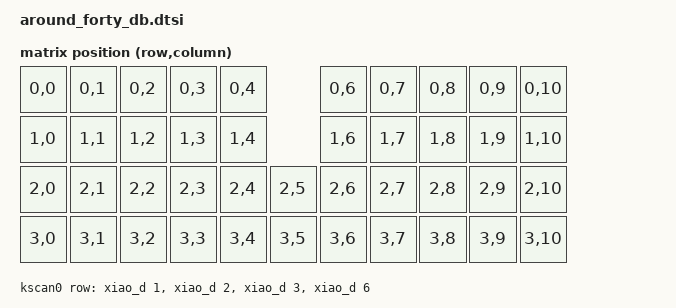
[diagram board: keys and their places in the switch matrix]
#include <dt-bindings/zmk/matrix_transform.h>
#include <dt-bindings/zmk/input_transform.h>
#include <dt-bindings/input/input-event-codes.h>
#include <dt-bindings/zmk/bt.h>
#include <input/processors.dtsi>
#include <physical_layouts.dtsi>

/ {
    chosen {
       zmk,physical-layout = &aroundFortydb_physical_layout;
    };

aroundFortydb_physical_layout: aroundFortydb_physical_layout {
        compatible = "zmk,physical-layout";
        display-name = "Default";
        transform = <&default_transform>;
        kscan = <&kscan0>;

         keys
            = <&key_physical_attrs 100 100    0  100  0 0 0>  /* r1 c0 (0,1)  */
            , <&key_physical_attrs 100 100  100  100  0 0 0>  /* r1 c1 (1,1)  */
            , <&key_physical_attrs 100 100  200  100  0 0 0>  /* r1 c2 (2,1)  */
            , <&key_physical_attrs 100 100  300  100  0 0 0>  /* r1 c3 (3,1)  */
            , <&key_physical_attrs 100 100  400  100  0 0 0>  /* r1 c4 (4,1)  */
            , <&key_physical_attrs 100 100  800  100  0 0 0>  /* r1 c5 (8,1)  */
            , <&key_physical_attrs 100 100  900  100  0 0 0>  /* r1 c6 (9,1)  */
            , <&key_physical_attrs 100 100 1000  100  0 0 0>  /* r1 c7 (10,1) */
            , <&key_physical_attrs 100 100 1100  100  0 0 0>  /* r1 c8 (11,1) */
            , <&key_physical_attrs 100 100 1200  100  0 0 0>  /* r1 c9 (12,1) */

            , <&key_physical_attrs 100 100    0  200  0 0 0>  /* r2 c0 (0,2)  */
            , <&key_physical_attrs 100 100  100  200  0 0 0>  /* r2 c1 (1,2)  */
            , <&key_physical_attrs 100 100  200  200  0 0 0>  /* r2 c2 (2,2)  */
            , <&key_physical_attrs 100 100  300  200  0 0 0>  /* r2 c3 (3,2)  */
            , <&key_physical_attrs 100 100  400  200  0 0 0>  /* r2 c4 (4,2)  */
            , <&key_physical_attrs 100 100 1100  200  0 0 0>  /* r2 c5 (8,2)  */
            , <&key_physical_attrs 100 100  900  200  0 0 0>  /* r2 c6 (9,2)  */
            , <&key_physical_attrs 100 100 1000  200  0 0 0>  /* r2 c7 (10,2) */
            , <&key_physical_attrs 100 100  800  200  0 0 0>  /* r2 c8 (11,2) */
            , <&key_physical_attrs 100 100 1200  200  0 0 0>  /* r2 c9 (12,2) */

            , <&key_physical_attrs 100 100    0  300  0 0 0>  /* r3 c0 (0,3)  */
            , <&key_physical_attrs 100 100  100  300  0 0 0>  /* r3 c1 (1,3)  */
            , <&key_physical_attrs 100 100  200  300  0 0 0>  /* r3 c2 (2,3)  */
            , <&key_physical_attrs 100 100  300  300  0 0 0>  /* r3 c3 (3,3)  */
            , <&key_physical_attrs 100 100  400  300  0 0 0>  /* r3 c4 (4,3)  */
            , <&key_physical_attrs 100 100  800  300  0 0 0>  /* r3 c5 (8,3)  */
            , <&key_physical_attrs 100 100  900  300  0 0 0>  /* r3 c6 (9,3)  */
            , <&key_physical_attrs 100 100 1000  300  0 0 0>  /* r3 c7 (10,3) */
            , <&key_physical_attrs 100 100 1100  300  0 0 0>  /* r3 c8 (11,3) */
            , <&key_physical_attrs 100 100 1200  300  0 0 0>  /* r3 c9 (12,3) */

            , <&key_physical_attrs 100 100    0  400  0 0 0>  /* r4 c0 (0,4)  */
            , <&key_physical_attrs 100 100  100  400  0 0 0>  /* r4 c1 (1,4)  */
            , <&key_physical_attrs 100 100  500  300  0 0 0>  /* r4 c2 (5,3)  */
            , <&key_physical_attrs 100 100  500  400  0 0 0>  /* r4 c3 (5,4)  */
            , <&key_physical_attrs 100 100  400  400  0 0 0>  /* r4 c4 (4,4)  */

            , <&key_physical_attrs 100 100 1100  400  0 0 0>  /* r4 c5 (11,4) */
            , <&key_physical_attrs 100 100  700  400  0 0 0>  /* r4 c6 (7,4)  */
            , <&key_physical_attrs 100 100  700  300  0 0 0>  /* r4 c7 (7,3)  */
            , <&key_physical_attrs 100 100  800  400  0 0 0>  /* r4 c8 (8,4)  */
            , <&key_physical_attrs 100 100 1200  400  0 0 0>  /* r4 c9 (12,4) */
            ;
    };

    split_inputs {
          #address-cells = <1>;
          #size-cells = <0>;
    
          trackball_split_L: trackball_split_L@0 {
            compatible = "zmk,input-split";
            reg = <0>;
          };
        };
    
    trackball_listener_L: trackball_listener_L {
          compatible = "zmk,input-listener";
          status = "disabled";
          device = <&trackball_split_L>;
    
          input-processors = <&zip_xy_transform (INPUT_TRANSFORM_Y_INVERT)>,
                               <&zip_xy_scaler 1 16>,
                               <&zip_scroll_scaler 1 5>,
                               <&zip_xy_to_scroll_mapper>;
    };

    trackball_listener_R: trackball_listener_R {
      compatible = "zmk,input-listener";
      status = "disabled";    
    };


    default_transform: keymap_transform_0 {
        compatible = "zmk,matrix-transform";
        columns = <11>;
        rows = <4>;               
        map = <
            RC(0,0) RC(0,1) RC(0,2) RC(0,3) RC(0,4)                        RC(0,6) RC(0,7) RC(0,8) RC(0,9) RC(0,10)
            RC(1,0) RC(1,1) RC(1,2) RC(1,3) RC(1,4)                        RC(1,6) RC(1,7) RC(1,8) RC(1,9) RC(1,10)
            RC(2,0) RC(2,1) RC(2,2) RC(2,3) RC(2,4) RC(2,5)                RC(2,6) RC(2,7) RC(2,8) RC(2,9) RC(2,10)
            RC(3,0) RC(3,1) RC(3,2) RC(3,3) RC(3,4) RC(3,5)                RC(3,6) RC(3,7) RC(3,8) RC(3,9) RC(3,10)         
        >;
    };
    
    kscan0: kscan {
        compatible = "zmk,kscan-gpio-matrix";
        label = "KSCAN";
        diode-direction = "col2row";
            row-gpios
                = <&xiao_d 1 (GPIO_ACTIVE_HIGH | GPIO_PULL_DOWN)> 
                , <&xiao_d 2 (GPIO_ACTIVE_HIGH | GPIO_PULL_DOWN)> 
                , <&xiao_d 3 (GPIO_ACTIVE_HIGH | GPIO_PULL_DOWN)> 
                , <&xiao_d 6 (GPIO_ACTIVE_HIGH | GPIO_PULL_DOWN)> 			
                ;
    };
};
